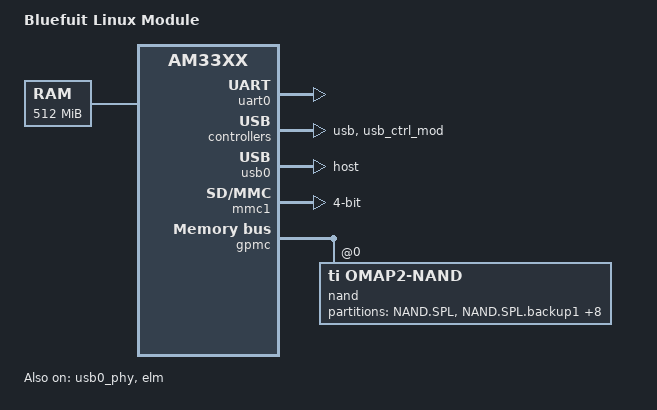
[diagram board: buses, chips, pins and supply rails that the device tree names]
/*
 * Copyright (C) 2012 Texas Instruments Incorporated - http://www.ti.com/
 *
 * This program is free software; you can redistribute it and/or modify
 * it under the terms of the GNU General Public License version 2 as
 * published by the Free Software Foundation.
 */
/dts-v1/;

#include "am33xx.dtsi"
#include <dt-bindings/interrupt-controller/irq.h>

/ {
	model = "Bluefuit Linux Module";
	compatible = "ti,am33xx";

	chosen {
		stdout-path = &uart0;
		tick-timer = &timer2;
	};

	memory {
		device_type = "memory";
		reg = <0x80000000 0x20000000>; /* 512 MB */
	};
};

&am33xx_pinmux {
	pinctrl-names = "default";

	uart0_pins_default: uart0_pins_default {
		pinctrl-single,pins = <
			AM33XX_IOPAD(0x970, PIN_INPUT | MUX_MODE0) /* (E19) uart0_rxd.uart0_rxd */
			AM33XX_IOPAD(0x974, PIN_OUTPUT | MUX_MODE0) /* (F17) uart0_txd.uart0_txd */
		>;
	};

	usb0_pins_default: usb0_pins_default {
		pinctrl-single,pins = <
			AM33XX_IOPAD(0xa1c, PIN_OUTPUT | MUX_MODE0) /* (G16) USB0_DRVVBUS.USB0_DRVVBUS */
		>;
	};

	mmc0_pins_default: mmc0_pins_default {
		pinctrl-single,pins = <
			AM33XX_IOPAD(0x900, PIN_INPUT | MUX_MODE0) /* (G19) mmc0_clk.mmc0_clk */
			AM33XX_IOPAD(0x904, PIN_INPUT | MUX_MODE0) /* (G17) mmc0_cmd.mmc0_cmd */
			AM33XX_IOPAD(0x8fc, PIN_INPUT | MUX_MODE0) /* (G18) mmc0_dat0.mmc0_dat0 */
			AM33XX_IOPAD(0x8f8, PIN_INPUT | MUX_MODE0) /* (H17) mmc0_dat1.mmc0_dat1 */
			AM33XX_IOPAD(0x8f4, PIN_INPUT | MUX_MODE0) /* (H18) mmc0_dat2.mmc0_dat2 */
			AM33XX_IOPAD(0x8f0, PIN_INPUT | MUX_MODE0) /* (H19) mmc0_dat3.mmc0_dat3 */
		>;
	};

	gpmc0_pins_default: gpmc0_pins_default {
		pinctrl-single,pins = <
			AM33XX_IOPAD(0x81c, PIN_INPUT | MUX_MODE0) /* (W15) gpmc_ad7.gpmc_ad7 */
			AM33XX_IOPAD(0x818, PIN_INPUT | MUX_MODE0) /* (U14) gpmc_ad6.gpmc_ad6 */
			AM33XX_IOPAD(0x814, PIN_INPUT | MUX_MODE0) /* (W14) gpmc_ad5.gpmc_ad5 */
			AM33XX_IOPAD(0x810, PIN_INPUT | MUX_MODE0) /* (V13) gpmc_ad4.gpmc_ad4 */
			AM33XX_IOPAD(0x80c, PIN_INPUT | MUX_MODE0) /* (W13) gpmc_ad3.gpmc_ad3 */
			AM33XX_IOPAD(0x808, PIN_INPUT | MUX_MODE0) /* (V12) gpmc_ad2.gpmc_ad2 */
			AM33XX_IOPAD(0x804, PIN_INPUT | MUX_MODE0) /* (V9) gpmc_ad1.gpmc_ad1 */
			AM33XX_IOPAD(0x800, PIN_INPUT | MUX_MODE0) /* (W10) gpmc_ad0.gpmc_ad0 */
			AM33XX_IOPAD(0x870, PIN_INPUT | MUX_MODE0) /* (R15) gpmc_wait0.gpmc_wait0 */
			AM33XX_IOPAD(0x88c, PIN_INPUT | MUX_MODE2) /* (V16) gpmc_clk.gpmc_wait1 */
			AM33XX_IOPAD(0x874, PIN_OUTPUT | MUX_MODE0) /* (W18) gpmc_wpn.gpmc_wpn */
			AM33XX_IOPAD(0x87c, PIN_OUTPUT | MUX_MODE0) /* (W8) gpmc_csn0.gpmc_csn0 */
			AM33XX_IOPAD(0x880, PIN_OUTPUT | MUX_MODE0) /* (V14) gpmc_csn1.gpmc_csn1 */
			AM33XX_IOPAD(0x884, PIN_OUTPUT | MUX_MODE0) /* (U15) gpmc_csn2.gpmc_csn2 */
			AM33XX_IOPAD(0x888, PIN_OUTPUT | MUX_MODE0) /* (U17) gpmc_csn3.gpmc_csn3 */
			AM33XX_IOPAD(0x890, PIN_OUTPUT | MUX_MODE0) /* (V10) gpmc_advn_ale.gpmc_advn_ale */
			AM33XX_IOPAD(0x894, PIN_OUTPUT | MUX_MODE0) /* (W9) gpmc_oen_ren.gpmc_oen_ren */
			AM33XX_IOPAD(0x898, PIN_OUTPUT | MUX_MODE0) /* (U8) gpmc_wen.gpmc_wen */
			AM33XX_IOPAD(0x89c, PIN_OUTPUT | MUX_MODE0) /* (V8) gpmc_be0n_cle.gpmc_be0n_cle */
		>;
	};
};

&uart0 {
	pinctrl-names = "default";
	pinctrl-0 = <&uart0_pins_default>;

	status = "okay";
};

&usb {
	status = "okay";
};

&usb_ctrl_mod {
	status = "okay";
};

&usb0_phy {
	status = "okay";
};

&usb0 {
	status = "okay";
	dr_mode = "host";

	pinctrl-names = "default";
	pinctrl-0 = <&usb0_pins_default>;
};

&mmc1 {
	status = "okay";
	bus-width = <4>;
	pinctrl-names = "default";
	pinctrl-0 = <&mmc0_pins_default>;
	broken-cd;
};

&elm {
	status = "okay";
};

&gpmc {
	status = "okay";
	pinctrl-names = "default";
	pinctrl-0 = <&gpmc0_pins_default>;
	ranges = <0 0 0x08000000 0x1000000>;	/* CS0: 16MB for NAND */
	nand@0,0 {
		compatible = "ti,omap2-nand";
		reg = <0 0 4>; /* CS0, offset 0, IO size 4 */
		ti,nand-ecc-opt = "bch8";
		ti,elm-id = <&elm>;
		nand-bus-width = <8>;
		gpmc,device-width = <1>;
		gpmc,sync-clk-ps = <0>;
		gpmc,cs-on-ns = <0>;
		gpmc,cs-rd-off-ns = <44>;
		gpmc,cs-wr-off-ns = <44>;
		gpmc,adv-on-ns = <6>;
		gpmc,adv-rd-off-ns = <34>;
		gpmc,adv-wr-off-ns = <44>;
		gpmc,we-on-ns = <0>;
		gpmc,we-off-ns = <40>;
		gpmc,oe-on-ns = <0>;
		gpmc,oe-off-ns = <54>;
		gpmc,access-ns = <64>;
		gpmc,rd-cycle-ns = <82>;
		gpmc,wr-cycle-ns = <82>;
		gpmc,wait-on-read = "true";
		gpmc,wait-on-write = "true";
		gpmc,bus-turnaround-ns = <0>;
		gpmc,cycle2cycle-delay-ns = <0>;
		gpmc,clk-activation-ns = <0>;
		gpmc,wait-monitoring-ns = <0>;
		gpmc,wr-access-ns = <40>;
		gpmc,wr-data-mux-bus-ns = <0>;
		/* MTD partition table */
		/* All SPL-* partitions are sized to minimal length
		 * which can be independently programmable. For
		 * NAND flash this is equal to size of erase-block */
		#address-cells = <1>;
		#size-cells = <1>;
		partition@0 {
			label = "NAND.SPL";
			reg = <0x00000000 0x00040000>;
		};
		partition@1 {
			label = "NAND.SPL.backup1";
			reg = <0x00040000 0x00040000>;
		};
		partition@2 {
			label = "NAND.SPL.backup2";
			reg = <0x00080000 0x00040000>;
		};
		partition@3 {
			label = "NAND.SPL.backup3";
			reg = <0x000C0000 0x00040000>;
		};
		partition@4 {
			label = "NAND.u-boot-spl-os";
			reg = <0x00100000 0x00040000>;
		};
		partition@5 {
			label = "NAND.u-boot";
			reg = <0x00140000 0x00100000>;
		};
		partition@6 {
			label = "NAND.u-boot-env";
			reg = <0x00240000 0x00040000>;
		};
		partition@7 {
			label = "NAND.u-boot-env.backup1";
			reg = <0x00280000 0x00040000>;
		};
		partition@8 {
			label = "NAND.kernel";
			reg = <0x002C0000 0x00800000>;
		};
		partition@9 {
			label = "NAND.file-system";
			reg = <0x00AC0000 0x0F600000>;
		};
	};
};
